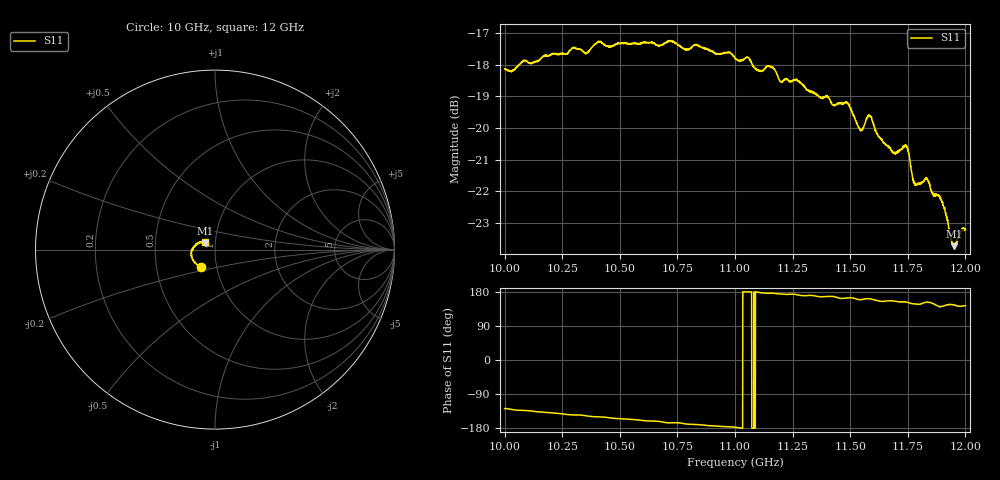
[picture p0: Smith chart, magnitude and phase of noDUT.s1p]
[Version] 2.0
! Rohde & Schwarz Vector Network Analyzer
! Rohde-Schwarz,ZNL20-2Port,1323001220200009,1.71.1.10-23.02.1.238
! Port Assignments:
! Nominal Port -> Actual Test Port
!  1 -> 1
! Created: GMT 2024-08-27 12:38:24
# Hz S DB R 50
[Number of Ports] 1
! freq[Hz]  S11[mag dB]  S11[ang]
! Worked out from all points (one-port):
!   2001 points, 10 GHz to 12 GHz, reference 50 ohm
!   lowest |S11| = -23.7 dB at 11.95 GHz (marker M1), VSWR 1.14, Z = 44.8 + j3.38 ohm
!   |S11| at or under -10 dB: start of sweep to end of sweep
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[Number of Frequencies] 28
[Network Data]
1e10  -18.14 -128.1
1.025e10  -17.64 -142.1
1.0302e10  -17.45 -145.0
1.0356e10  -17.64 -147.4
1.0409e10  -17.26 -149.9
1.05e10  -17.32 -155.0
1.075e10  -17.36 -165.7
1.1e10  -17.79 -177.5
1.1055e10  -17.76 179.7
1.1105e10  -18.19 178.3
1.1156e10  -18.08 176.3
1.1198e10  -18.53 174.1
1.125e10  -18.49 173.7
1.1426e10  -19.26 167.6
1.15e10  -19.35 164.3
1.1543e10  -20.06 158.8
1.1584e10  -19.61 161.5
1.1622e10  -20.26 156.2
1.1686e10  -20.76 156.0
1.1738e10  -20.57 153.5
1.175e10  -20.72 151.7
1.178e10  -21.72 147.8
1.1832e10  -21.57 152.6
1.1859e10  -22.09 149.1
1.1893e10  -22.21 141.1
1.1938e10  -23.52 146.3
1.1952e10  -23.73 144.8
1.2e10  -23.21 143.7
[End]
